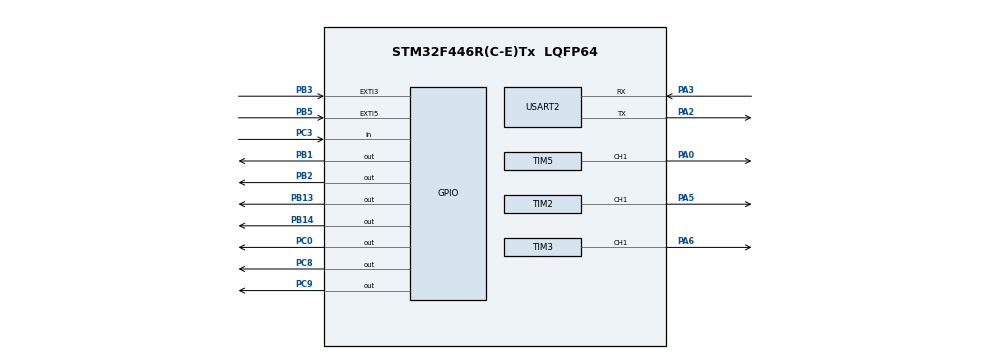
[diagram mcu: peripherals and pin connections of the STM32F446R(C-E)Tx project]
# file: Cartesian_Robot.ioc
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Mcu.Family=STM32F4
Mcu.Name=STM32F446R(C-E)Tx
Mcu.Package=LQFP64
NVIC.EXTI3_IRQn=true\:0\:0\:false\:false\:true\:true\:true\:true
NVIC.EXTI9_5_IRQn=true\:0\:0\:false\:false\:true\:true\:true\:true
NVIC.PriorityGroup=NVIC_PRIORITYGROUP_4
NVIC.TIM2_IRQn=true\:0\:0\:false\:false\:true\:true\:true\:true
NVIC.TIM3_IRQn=true\:0\:0\:false\:false\:true\:true\:true\:true
NVIC.TIM5_IRQn=true\:0\:0\:false\:false\:true\:true\:true\:true
NVIC.USART2_IRQn=true\:0\:0\:false\:false\:true\:true\:true\:true
PA0-WKUP.Signal=S_TIM5_CH1
PA13.Mode=Serial_Wire
PA13.Signal=SYS_JTMS-SWDIO
PA14.Mode=Serial_Wire
PA14.Signal=SYS_JTCK-SWCLK
PA2.Mode=Asynchronous
PA2.Signal=USART2_TX
PA3.Mode=Asynchronous
PA3.Signal=USART2_RX
PA5.Signal=S_TIM2_CH1_ETR
PA6.Signal=S_TIM3_CH1
PB1.Signal=GPIO_Output
PB13.Signal=GPIO_Output
PB14.PinState=GPIO_PIN_RESET
PB14.Signal=GPIO_Output
PB2.Signal=GPIO_Output
PB3.GPIO_ModeDefaultEXTI=GPIO_MODE_IT_FALLING
PB3.GPIO_PuPd=GPIO_PULLUP
PB3.Signal=GPXTI3
PB5.GPIO_ModeDefaultEXTI=GPIO_MODE_IT_FALLING
PB5.GPIO_PuPd=GPIO_PULLUP
PB5.Signal=GPXTI5
PC0.Signal=GPIO_Output
PC3.GPIO_PuPd=GPIO_PULLUP
PC3.Signal=GPIO_Input
PC8.Signal=GPIO_Output
PC9.Signal=GPIO_Output
ProjectManager.HeapSize=0x200
ProjectManager.StackSize=0x400
ProjectManager.TargetToolchain=STM32CubeIDE
RCC.CortexFreq_Value=16000000
RCC.USBFreq_Value=96000000
RCC.VCOOutputFreq_Value=192000000
SH.S_TIM2_CH1_ETR.0=TIM2_CH1,PWM Generation1 CH1
SH.S_TIM3_CH1.0=TIM3_CH1,PWM Generation1 CH1
SH.S_TIM5_CH1.0=TIM5_CH1,PWM Generation1 CH1
TIM2.Channel-PWM\ Generation1\ CH1=TIM_CHANNEL_1
TIM2.OCPolarity_1=TIM_OCPOLARITY_HIGH
TIM3.Channel-PWM\ Generation1\ CH1=TIM_CHANNEL_1
TIM5.Channel-PWM\ Generation1\ CH1=TIM_CHANNEL_1
TIM5.OCPolarity_1=TIM_OCPOLARITY_HIGH
USART2.VirtualMode=VM_ASYNC
VP_TIM2_VS_ClockSourceINT.Mode=Internal
VP_TIM3_VS_ClockSourceINT.Mode=Internal
board=custom

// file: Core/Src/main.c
/* USER CODE BEGIN Header */
/**
  ******************************************************************************
  * @file           : main.c
  * @brief          : Main program body
  ******************************************************************************
  * @attention
  *
  * Copyright (c) 2026 STMicroelectronics.
  * All rights reserved.
  *
  * This software is licensed under terms that can be found in the LICENSE file
  * in the root directory of this software component.
  * If no LICENSE file comes with this software, it is provided AS-IS.
  *
  ******************************************************************************
  */
/* USER CODE END Header */
#include "main.h"

/* USER CODE BEGIN Includes */
#include "first_convey.h"
#include "cartesian.h"
#include "sensor.h"
#include "board_pin.h"
#include <string.h>
#include "comm.h"
#include "test1.h"
#include "sequence.h"
/* USER CODE END Includes */

TIM_HandleTypeDef htim2;
TIM_HandleTypeDef htim3;
TIM_HandleTypeDef htim5;

UART_HandleTypeDef huart2;

/* USER CODE BEGIN PV */
volatile uint32_t tim2_cnt = 0;
/* USER CODE END PV */

void SystemClock_Config(void);
static void MX_GPIO_Init(void);
static void MX_TIM3_Init(void);
static void MX_USART2_UART_Init(void);
static void MX_TIM2_Init(void);
static void MX_TIM5_Init(void);

int main(void)
{

  /* MCU Configuration--------------------------------------------------------*/

  /* Reset of all peripherals, Initializes the Flash interface and the Systick. */
  HAL_Init();

  /* Configure the system clock */
  SystemClock_Config();

  /* Initialize all configured peripherals */
  MX_GPIO_Init();
  MX_TIM3_Init();
  MX_USART2_UART_Init();
  MX_TIM2_Init();
  MX_TIM5_Init();
  /* USER CODE BEGIN 2 */
  //Cartesian_StartHoming(); // 초기 1회만, 홈동작

  Comm_Init();
  Sequence_Init();

  #if TEST_MODE
  Test_Init();
  #endif
  /* USER CODE END 2 */

  /* Infinite loop */
  /* USER CODE BEGIN WHILE */
  while (1)
  {
#if TEST_MODE
	      Test_Run();
	  #else
	      Sequence_Task();
	  #endif
	  //HAL_Delay(10);
    /* USER CODE END WHILE */

  }
}

void SystemClock_Config(void)
{
  RCC_OscInitTypeDef RCC_OscInitStruct = {0};
  RCC_ClkInitTypeDef RCC_ClkInitStruct = {0};

  /** Configure the main internal regulator output voltage
  */
  __HAL_RCC_PWR_CLK_ENABLE();
  __HAL_PWR_VOLTAGESCALING_CONFIG(PWR_REGULATOR_VOLTAGE_SCALE3);

  /** Initializes the RCC Oscillators according to the specified parameters
  * in the RCC_OscInitTypeDef structure.
  */
  RCC_OscInitStruct.OscillatorType = RCC_OSCILLATORTYPE_HSI;
  RCC_OscInitStruct.HSIState = RCC_HSI_ON;
  RCC_OscInitStruct.HSICalibrationValue = RCC_HSICALIBRATION_DEFAULT;
  RCC_OscInitStruct.PLL.PLLState = RCC_PLL_NONE;
  if (HAL_RCC_OscConfig(&RCC_OscInitStruct) != HAL_OK)
  {
    Error_Handler();
  }

  /** Initializes the CPU, AHB and APB buses clocks
  */
  RCC_ClkInitStruct.ClockType = RCC_CLOCKTYPE_HCLK|RCC_CLOCKTYPE_SYSCLK
                              |RCC_CLOCKTYPE_PCLK1|RCC_CLOCKTYPE_PCLK2;
  RCC_ClkInitStruct.SYSCLKSource = RCC_SYSCLKSOURCE_HSI;
  RCC_ClkInitStruct.AHBCLKDivider = RCC_SYSCLK_DIV1;
  RCC_ClkInitStruct.APB1CLKDivider = RCC_HCLK_DIV1;
  RCC_ClkInitStruct.APB2CLKDivider = RCC_HCLK_DIV1;

  if (HAL_RCC_ClockConfig(&RCC_ClkInitStruct, FLASH_LATENCY_0) != HAL_OK)
  {
    Error_Handler();
  }
}

static void MX_TIM2_Init(void)
{

  TIM_ClockConfigTypeDef sClockSourceConfig = {0};
  TIM_MasterConfigTypeDef sMasterConfig = {0};
  TIM_OC_InitTypeDef sConfigOC = {0};

  htim2.Instance = TIM2;
  htim2.Init.Prescaler = 0;
  htim2.Init.CounterMode = TIM_COUNTERMODE_UP;
  htim2.Init.Period = 4294967295;
  htim2.Init.ClockDivision = TIM_CLOCKDIVISION_DIV1;
  htim2.Init.AutoReloadPreload = TIM_AUTORELOAD_PRELOAD_DISABLE;
  if (HAL_TIM_Base_Init(&htim2) != HAL_OK)
  {
    Error_Handler();
  }
  sClockSourceConfig.ClockSource = TIM_CLOCKSOURCE_INTERNAL;
  if (HAL_TIM_ConfigClockSource(&htim2, &sClockSourceConfig) != HAL_OK)
  {
    Error_Handler();
  }
  if (HAL_TIM_PWM_Init(&htim2) != HAL_OK)
  {
    Error_Handler();
  }
  sMasterConfig.MasterOutputTrigger = TIM_TRGO_RESET;
  sMasterConfig.MasterSlaveMode = TIM_MASTERSLAVEMODE_DISABLE;
  if (HAL_TIMEx_MasterConfigSynchronization(&htim2, &sMasterConfig) != HAL_OK)
  {
    Error_Handler();
  }
  sConfigOC.OCMode = TIM_OCMODE_PWM1;
  sConfigOC.Pulse = 0;
  sConfigOC.OCPolarity = TIM_OCPOLARITY_HIGH;
  sConfigOC.OCFastMode = TIM_OCFAST_DISABLE;
  if (HAL_TIM_PWM_ConfigChannel(&htim2, &sConfigOC, TIM_CHANNEL_1) != HAL_OK)
  {
    Error_Handler();
  }
  HAL_TIM_MspPostInit(&htim2);

}

static void MX_TIM3_Init(void)
{

  TIM_ClockConfigTypeDef sClockSourceConfig = {0};
  TIM_MasterConfigTypeDef sMasterConfig = {0};
  TIM_OC_InitTypeDef sConfigOC = {0};

  htim3.Instance = TIM3;
  htim3.Init.Prescaler = 0;
  htim3.Init.CounterMode = TIM_COUNTERMODE_UP;
  htim3.Init.Period = 65535;
  htim3.Init.ClockDivision = TIM_CLOCKDIVISION_DIV1;
  htim3.Init.AutoReloadPreload = TIM_AUTORELOAD_PRELOAD_DISABLE;
  if (HAL_TIM_Base_Init(&htim3) != HAL_OK)
  {
    Error_Handler();
  }
  sClockSourceConfig.ClockSource = TIM_CLOCKSOURCE_INTERNAL;
  if (HAL_TIM_ConfigClockSource(&htim3, &sClockSourceConfig) != HAL_OK)
  {
    Error_Handler();
  }
  if (HAL_TIM_PWM_Init(&htim3) != HAL_OK)
  {
    Error_Handler();
  }
  sMasterConfig.MasterOutputTrigger = TIM_TRGO_RESET;
  sMasterConfig.MasterSlaveMode = TIM_MASTERSLAVEMODE_DISABLE;
  if (HAL_TIMEx_MasterConfigSynchronization(&htim3, &sMasterConfig) != HAL_OK)
  {
    Error_Handler();
  }
  sConfigOC.OCMode = TIM_OCMODE_PWM1;
  sConfigOC.Pulse = 0;
  sConfigOC.OCPolarity = TIM_OCPOLARITY_HIGH;
  sConfigOC.OCFastMode = TIM_OCFAST_DISABLE;
  if (HAL_TIM_PWM_ConfigChannel(&htim3, &sConfigOC, TIM_CHANNEL_1) != HAL_OK)
  {
    Error_Handler();
  }
  HAL_TIM_MspPostInit(&htim3);

}

static void MX_TIM5_Init(void)
{

  TIM_MasterConfigTypeDef sMasterConfig = {0};
  TIM_OC_InitTypeDef sConfigOC = {0};

  htim5.Instance = TIM5;
  htim5.Init.Prescaler = 0;
  htim5.Init.CounterMode = TIM_COUNTERMODE_UP;
  htim5.Init.Period = 4294967295;
  htim5.Init.ClockDivision = TIM_CLOCKDIVISION_DIV1;
  htim5.Init.AutoReloadPreload = TIM_AUTORELOAD_PRELOAD_DISABLE;
  if (HAL_TIM_PWM_Init(&htim5) != HAL_OK)
  {
    Error_Handler();
  }
  sMasterConfig.MasterOutputTrigger = TIM_TRGO_RESET;
  sMasterConfig.MasterSlaveMode = TIM_MASTERSLAVEMODE_DISABLE;
  if (HAL_TIMEx_MasterConfigSynchronization(&htim5, &sMasterConfig) != HAL_OK)
  {
    Error_Handler();
  }
  sConfigOC.OCMode = TIM_OCMODE_PWM1;
  sConfigOC.Pulse = 0;
  sConfigOC.OCPolarity = TIM_OCPOLARITY_HIGH;
  sConfigOC.OCFastMode = TIM_OCFAST_DISABLE;
  if (HAL_TIM_PWM_ConfigChannel(&htim5, &sConfigOC, TIM_CHANNEL_1) != HAL_OK)
  {
    Error_Handler();
  }
  HAL_TIM_MspPostInit(&htim5);

}

static void MX_USART2_UART_Init(void)
{

  huart2.Instance = USART2;
  huart2.Init.BaudRate = 115200;
  huart2.Init.WordLength = UART_WORDLENGTH_8B;
  huart2.Init.StopBits = UART_STOPBITS_1;
  huart2.Init.Parity = UART_PARITY_NONE;
  huart2.Init.Mode = UART_MODE_TX_RX;
  huart2.Init.HwFlowCtl = UART_HWCONTROL_NONE;
  huart2.Init.OverSampling = UART_OVERSAMPLING_16;
  if (HAL_UART_Init(&huart2) != HAL_OK)
  {
    Error_Handler();
  }

}

static void MX_GPIO_Init(void)
{
  GPIO_InitTypeDef GPIO_InitStruct = {0};

  /* GPIO Ports Clock Enable */
  __HAL_RCC_GPIOC_CLK_ENABLE();
  __HAL_RCC_GPIOA_CLK_ENABLE();
  __HAL_RCC_GPIOB_CLK_ENABLE();

  /*Configure GPIO pin Output Level */
  HAL_GPIO_WritePin(GPIOC, GPIO_PIN_0|GPIO_PIN_8|GPIO_PIN_9, GPIO_PIN_RESET);

  /*Configure GPIO pin Output Level */
  HAL_GPIO_WritePin(GPIOB, GPIO_PIN_1|GPIO_PIN_2|GPIO_PIN_13|GPIO_PIN_14, GPIO_PIN_RESET);

  /*Configure GPIO pins : PC0 PC8 PC9 */
  GPIO_InitStruct.Pin = GPIO_PIN_0|GPIO_PIN_8|GPIO_PIN_9;
  GPIO_InitStruct.Mode = GPIO_MODE_OUTPUT_PP;
  GPIO_InitStruct.Pull = GPIO_NOPULL;
  GPIO_InitStruct.Speed = GPIO_SPEED_FREQ_LOW;
  HAL_GPIO_Init(GPIOC, &GPIO_InitStruct);

  /*Configure GPIO pin : PC3 */
  GPIO_InitStruct.Pin = GPIO_PIN_3;
  GPIO_InitStruct.Mode = GPIO_MODE_INPUT;
  GPIO_InitStruct.Pull = GPIO_PULLUP;
  HAL_GPIO_Init(GPIOC, &GPIO_InitStruct);

  /*Configure GPIO pins : PB1 PB2 PB13 PB14 */
  GPIO_InitStruct.Pin = GPIO_PIN_1|GPIO_PIN_2|GPIO_PIN_13|GPIO_PIN_14;
  GPIO_InitStruct.Mode = GPIO_MODE_OUTPUT_PP;
  GPIO_InitStruct.Pull = GPIO_NOPULL;
  GPIO_InitStruct.Speed = GPIO_SPEED_FREQ_LOW;
  HAL_GPIO_Init(GPIOB, &GPIO_InitStruct);

  /*Configure GPIO pins : PB3 PB5 */
  GPIO_InitStruct.Pin = GPIO_PIN_3|GPIO_PIN_5;
  GPIO_InitStruct.Mode = GPIO_MODE_IT_FALLING;
  GPIO_InitStruct.Pull = GPIO_PULLUP;
  HAL_GPIO_Init(GPIOB, &GPIO_InitStruct);

  /* EXTI interrupt init*/
  HAL_NVIC_SetPriority(EXTI3_IRQn, 0, 0);
  HAL_NVIC_EnableIRQ(EXTI3_IRQn);

  HAL_NVIC_SetPriority(EXTI9_5_IRQn, 0, 0);
  HAL_NVIC_EnableIRQ(EXTI9_5_IRQn);

}

/* USER CODE BEGIN 4 */
void HAL_TIM_PeriodElapsedCallback(TIM_HandleTypeDef *htim)
{
    Cartesian_OnTimPeriodElapsed(htim);
    FirstConvey_OnTimPeriodElapsed(htim);  // ← 추가
}
/*
void HAL_GPIO_EXTI_Callback(uint16_t GPIO_Pin)
{
  Cartesian_limit(GPIO_Pin);
}*/
void HAL_GPIO_EXTI_Callback(uint16_t GPIO_Pin)
{
    static uint32_t last_x = 0, last_z = 0;
    uint32_t now = HAL_GetTick();

    if (GPIO_Pin == X_LIM_PIN) {
        if (now - last_x < 50) return;
        last_x = now;
        Cartesian_limit(GPIO_Pin);
        return;
    }
    if (GPIO_Pin == Z_LIM_PIN) {
        if (now - last_z < 50) return;
        last_z = now;
        Cartesian_limit(GPIO_Pin);
        return;
    }
}
// HAL_UART_RxCpltCallback
void HAL_UART_RxCpltCallback(UART_HandleTypeDef *huart)
{
#if TEST_MODE
    // TEST_MODE=1: 허큘러스(디버그용 PC)가 USART2에 연결
    if (huart->Instance == USART2) Test_RxCallback();
#else
    // TEST_MODE=0: 라즈베리파이가 USART2에 연결
    if (huart->Instance == USART2) Comm_Rasp_RxCallback();
#endif
}
/* USER CODE END 4 */

void Error_Handler(void)
{
  __disable_irq();
  while (1)
  {
  }
}
